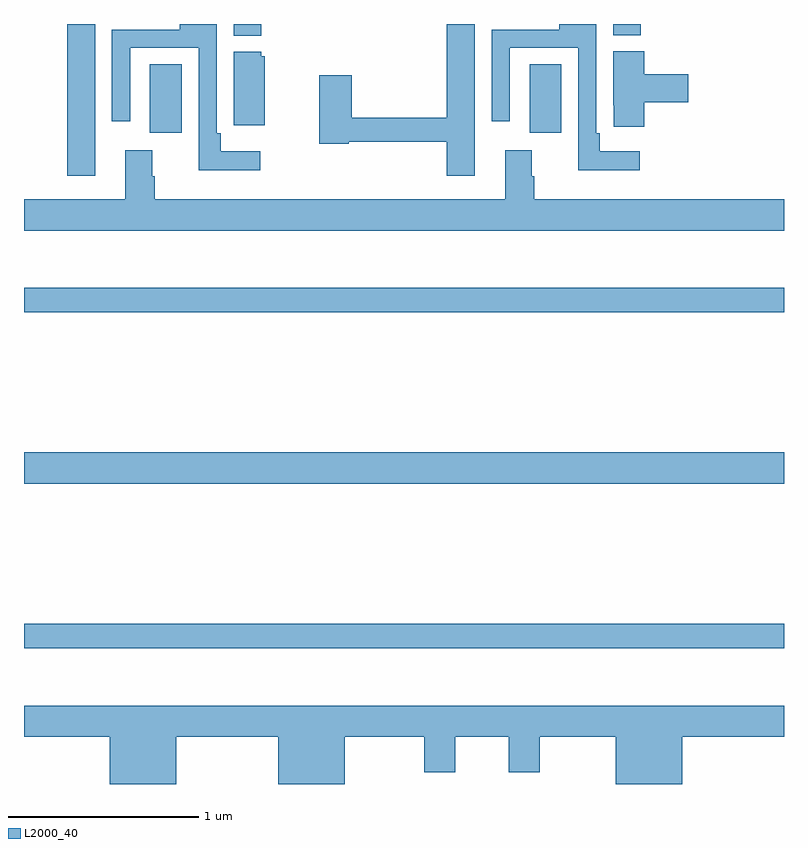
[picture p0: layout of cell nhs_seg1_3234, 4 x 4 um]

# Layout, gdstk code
import gdstk
lib = gdstk.Library(unit=1e-6, precision=1e-09)
def R(c, l, rs):  # rectangles x0, y0, x1, y1
    for r in rs: c.add(gdstk.rectangle(r[:2], r[2:], *l))
def P(c, l, *ps):  # polygons
    for p in ps: c.add(gdstk.Polygon(p, *l))
L2000_40 = (2000, 40)

nhs_seg1_3234 = lib.new_cell('nhs_seg1_3234')
R(nhs_seg1_3234, L2000_40, [(287,502.914,291,503.042), (287,503.78,291,503.944), (287,504.682,291,504.811), (287.228,505.401,287.374,506.199), (287.663,505.626,287.83,505.988), (289.661,505.626,289.828,505.988), (288.104,506.138,288.248,506.199), (290.102,506.14,290.246,506.199)])
P(nhs_seg1_3234, L2000_40, [(288.244,505.528),(288.035,505.528),(288.035,505.624),(288.015,505.624),(288.015,506.199),(287.819,506.199),(287.819,506.169),(287.463,506.169),(287.463,505.686),(287.559,505.686),(287.559,506.073),(287.919,506.073),(287.919,505.43),(288.244,505.43)],
  [(290.242,505.528),(290.029,505.528),(290.029,505.624),(290.013,505.624),(290.013,506.199),(289.817,506.199),(289.817,506.169),(289.461,506.169),(289.461,505.686),(289.557,505.686),(289.557,506.073),(289.917,506.073),(289.917,505.43),(290.242,505.43)],
  [(289.372,506.199),(289.226,506.199),(289.226,505.706),(288.725,505.706),(288.725,505.93),(288.554,505.93),(288.554,505.57),(288.708,505.57),(288.708,505.578),(289.226,505.578),(289.226,505.401),(289.372,505.401)],
  [(290.264,505.787),(290.497,505.787),(290.497,505.934),(290.264,505.934),(290.264,506.055),(290.102,506.055),(290.102,505.771),(290.103,505.771),(290.103,505.659),(290.264,505.659)],
  [(288.268,506.028),(288.249,506.028),(288.249,506.053),(288.104,506.053),(288.104,505.667),(288.268,505.667)],
  [(291,505.276),(289.685,505.276),(289.685,505.397),(289.672,505.397),(289.672,505.534),(289.532,505.534),(289.532,505.276),(287.687,505.276),(287.687,505.397),(287.674,505.397),(287.674,505.534),(287.534,505.534),(287.534,505.276),(287,505.276),(287,505.112),(291,505.112)],
  [(287,502.448),(287.45,502.448),(287.45,502.199),(287.8,502.199),(287.8,502.448),(288.338,502.448),(288.338,502.199),(288.688,502.199),(288.688,502.448),(289.106,502.448),(289.106,502.26),(289.27,502.26),(289.27,502.448),(289.55,502.448),(289.55,502.26),(289.714,502.26),(289.714,502.448),(290.114,502.448),(290.114,502.199),(290.464,502.199),(290.464,502.448),(291,502.448),(291,502.612),(287,502.612)])

lib.write_gds('nhs_seg1_3234.gds')
